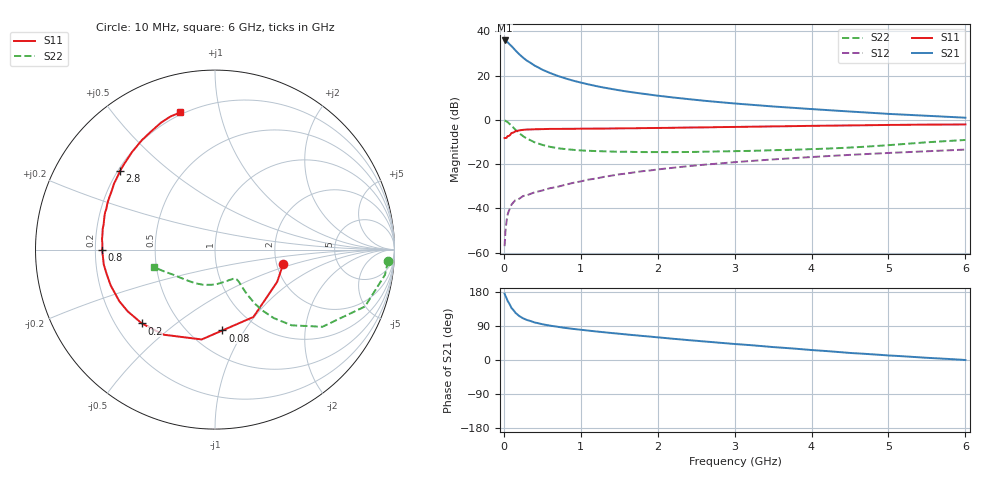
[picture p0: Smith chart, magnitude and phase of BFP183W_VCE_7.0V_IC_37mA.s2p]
! Infineon Technologies  Discrete & RF Semiconductors
! BFP183W
! VCE =  7.0 V,  IC =  37 mA
! Common Emitter S-Parameters:  Jan 2017
# GHz  S  MA  R  50
!  f  S11  S21  S12  S22
! GHz  MAG  ANG  MAG  ANG  MAG  ANG  MAG  ANG
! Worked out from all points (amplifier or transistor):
!   77 points, 10 MHz to 6 GHz, reference 50 ohm
!   highest |S21| = 35.9 dB at 10 MHz (marker M1)
!   |S21| within 3 dB of that: start of sweep to 111.8 MHz
!   unconditionally stable (mu >= 1): 841.3 MHz to 3.347 GHz
!   at 130 MHz: K = 0.33, MSG = 34.6 dB, |S12| = -37.1 dB
!   at 2.2 GHz: K = 1.06, MAG = 14.4 dB, |S12| = -21.6 dB
!   at 6 GHz: K = 0.86, MSG = 7.2 dB, |S12| = -13.4 dB
!   S11 on the Smith chart (normalised r, x): 10 MHz: 2.17, -0.41; 80 MHz: 0.71, -0.80; 200 MHz: 0.31, -0.38; 800 MHz: 0.23, -0.00; 2.8 GHz: 0.21, +0.35; 6 GHz: 0.19, +0.76
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0.01  0.3883 -12.0  62.38 175.0  0.0014 86.7  0.966 -3.9
0.02  0.3903 -27.5  61.55 169.4  0.0029 94.8  0.9572 -8.5
0.05  0.4321 -60.3  56.71 155.6  0.0073 68.8  0.8935 -20.8
0.08  0.4524 -84.8  49.91 145.3  0.0102 63.2  0.7929 -29.0
0.1  0.506 -98.4  46.47 137.0  0.0122 61.0  0.7369 -35.7
0.15  0.5535 -121.0  37.33 124.8  0.0153 51.7  0.601 -44.6
0.2  0.5791 -134.7  30.45 116.1  0.0165 52.8  0.5024 -49.4
0.25  0.5957 -144.7  25.51 110.0  0.019 49.9  0.4295 -52.1
0.3  0.6057 -151.6  21.8 105.6  0.0198 48.5  0.3779 -53.5
0.4  0.6146 -161.1  16.87 99.0  0.0231 52.1  0.311 -54.3
0.5  0.6189 -167.4  13.65 94.4  0.0254 53.4  0.2722 -54.2
0.6  0.6252 -172.3  11.48 90.7  0.0286 55.7  0.2466 -53.9
0.7  0.6258 -176.3  9.874 87.6  0.0308 58.5  0.2291 -53.5
0.8  0.6284 -179.7  8.674 84.6  0.0342 60.3  0.2188 -53.5
1.1  0.633 172.0  6.343 77.6  0.0447 62.4  0.2008 -54.6
1.5  0.6431 163.4  4.667 69.3  0.0588 63.5  0.1903 -59.2
2.1  0.6594 151.9  3.366 58.0  0.0793 62.7  0.1869 -71.2
2.8  0.6865 140.5  2.521 45.6  0.1035 59.8  0.1938 -89.6
3.1  0.6965 136.1  2.278 40.8  0.1141 58.1  0.1978 -97.7
4.1  0.7361 122.6  1.711 24.9  0.1482 52.0  0.2212 -124.5
5.1  0.771 112.1  1.34 10.9  0.1821 45.7  0.2764 -150.2
6  0.7886 104.2  1.121 0.0  0.2131 39.4  0.3518 -163.7
